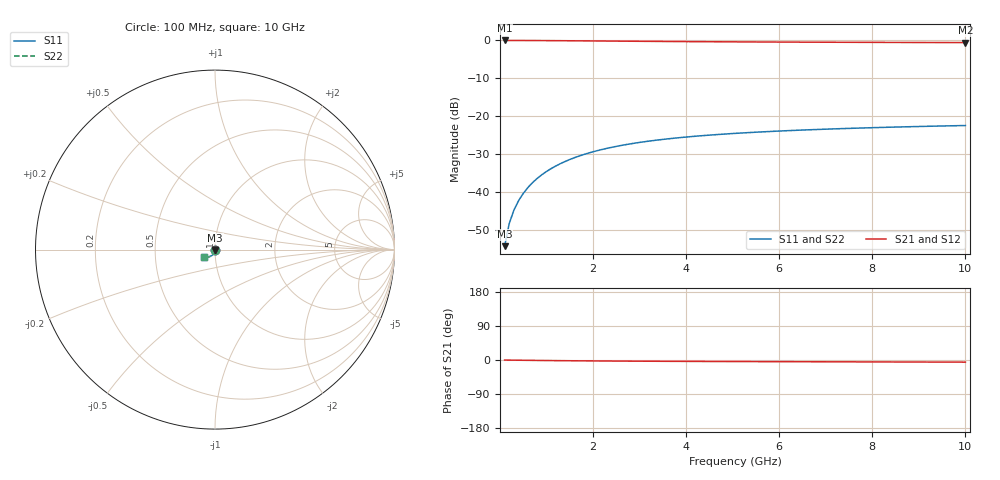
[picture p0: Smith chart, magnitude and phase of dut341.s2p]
! Touchstone file exported from HFSS 2024.1.0
!  File:  C:/UserFiles/LocalFiles/RDL_TSV_Batchsim/temp_TSV1_341_1779619143.aedt
!  Generated:  06:44:49 PM May 24, 2026
!  Design:  TSV1
!  Project:  temp_TSV1_341_1779619143
!  Setup:  Setup1
!  Solution:  Sweep
! Variables:
!  dtsv = 14.12um
!  hbump = 3um
!  htsv = 82.89um
!  lrdl = 252.1521522um
!  p = 40
!  p1 = 41.01um
!  t = 500um
!  trdl = 3um
!  wrdl = 24.89489489um
# GHz S MA R 50.000000
! Terminal data exported
! Port[1] = TSV22_T1
! Port[2] = TSV22_T2
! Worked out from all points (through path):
!   100 points, 100 MHz to 10 GHz, reference 50 ohm
!   highest |S21| = 0.00 dB at 100 MHz (marker M1); lowest = -0.6 dB at 10 GHz (marker M2)
!   lowest |S11| = -54.3 dB at 100 MHz (marker M3), VSWR 1.00, Z = 50 - j0.193 ohm
!   |S11| at or under -10 dB: start of sweep to end of sweep
!   |S22| runs from -54.3 to -22.4 dB; largest |S21 - S12| = 2e-15
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0.1  0.00193 -88.8  0.9999 -0.1  0.9999 -0.1  0.00193 -88.8
! Gamma 0 0 0 0
! Port Impedance 50 0 50 0
0.2  0.003855 -91.6  0.9997 -0.3  0.9997 -0.3  0.003855 -91.6
0.3  0.005774 -93.6  0.9995 -0.4  0.9995 -0.4  0.005774 -93.6
0.4  0.007684 -95.2  0.9991 -0.6  0.9991 -0.6  0.007684 -95.2
0.5  0.009578 -96.8  0.9987 -0.7  0.9987 -0.7  0.009578 -96.8
0.6  0.01145 -98.3  0.9982 -0.9  0.9982 -0.9  0.01145 -98.3
0.7  0.0133 -99.8  0.9975 -1.0  0.9975 -1.0  0.0133 -99.8
0.8  0.01513 -101.2  0.9969 -1.1  0.9969 -1.1  0.01513 -101.2
0.9  0.01692 -102.5  0.9961 -1.3  0.9961 -1.3  0.01692 -102.5
1.1  0.02039 -105.2  0.9944 -1.5  0.9944 -1.5  0.02039 -105.2
1.4  0.02531 -109.0  0.9916 -1.8  0.9916 -1.8  0.02531 -109.0
1.6  0.02837 -111.3  0.9895 -2.1  0.9895 -2.1  0.02837 -111.3
1.8  0.03126 -113.6  0.9874 -2.2  0.9874 -2.2  0.03126 -113.6
2.1  0.03527 -116.7  0.9842 -2.5  0.9842 -2.5  0.03527 -116.7
2.5  0.04003 -120.5  0.9799 -2.8  0.9799 -2.8  0.04003 -120.5
2.9  0.04418 -123.8  0.9758 -3.1  0.9758 -3.1  0.04418 -123.8
3.4  0.04865 -127.4  0.971 -3.4  0.971 -3.4  0.04865 -127.4
4.2  0.05448 -132.0  0.9642 -3.7  0.9642 -3.7  0.05448 -132.0
5.1  0.05963 -136.1  0.9578 -4.1  0.9578 -4.1  0.05963 -136.1
6.7  0.06647 -141.4  0.9489 -4.6  0.9489 -4.6  0.06647 -141.4
8.4  0.07171 -145.3  0.9421 -5.2  0.9421 -5.2  0.07171 -145.3
10  0.07542 -148.1  0.9373 -5.7  0.9373 -5.7  0.07542 -148.1
